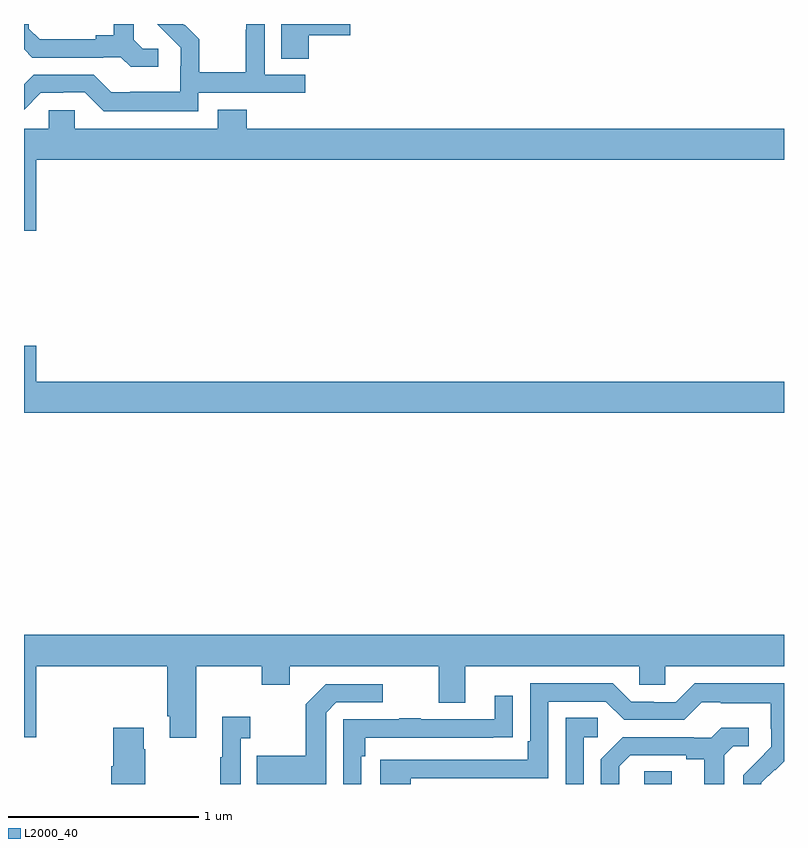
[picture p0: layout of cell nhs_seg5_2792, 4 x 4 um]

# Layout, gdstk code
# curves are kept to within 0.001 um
import gdstk
lib = gdstk.Library(unit=1e-6, precision=1e-09)
def R(c, l, rs):  # rectangles x0, y0, x1, y1
    for r in rs: c.add(gdstk.rectangle(r[:2], r[2:], *l))
def P(c, l, *ps):  # polygons
    for p in ps: c.add(gdstk.Polygon(p, *l))
L2000_40 = (2000, 40)

nhs_seg5_2792 = lib.new_cell('nhs_seg5_2792')
R(nhs_seg5_2792, L2000_40, [(276.264,862.799,276.409,862.865)])
P(nhs_seg5_2792, L2000_40, [(274.499,866.741),(274.717,866.741),(274.717,866.799),(274.355,866.799),(274.355,866.617),(274.499,866.617)],
  [(273.918,866.436),(274.48,866.436),(274.48,866.532),(274.266,866.532),(274.266,866.799),(274.17,866.799),(274.17,866.768),(274.168,866.768),(274.168,866.545),(273.923,866.545),(273.923,866.719),(273.846,866.796),(273.843,866.793),(273.837,866.799),(273.701,866.799),(273.824,866.674),(273.824,866.577),(273.822,866.577),(273.822,866.443),(273.559,866.443),(273.559,866.439),(273.459,866.439),(273.366,866.532),(273.051,866.532),(273,866.481),(273,866.349),(273.087,866.436),(273.206,866.436),(273.206,866.439),(273.321,866.439),(273.421,866.339),(273.918,866.339)],
  [(273.706,866.67),(273.624,866.67),(273.577,866.717),(273.577,866.799),(273.473,866.799),(273.473,866.741),(273.377,866.741),(273.377,866.718),(273.082,866.718),(273.025,866.775),(273.025,866.799),(273,866.799),(273,866.666),(273.044,866.622),(273.416,866.622),(273.416,866.625),(273.51,866.625),(273.562,866.573),(273.706,866.573)],
  [(273.064,866.084),(277,866.084),(277,866.248),(274.172,866.248),(274.172,866.347),(274.019,866.347),(274.019,866.248),(273.267,866.248),(273.267,866.346),(273.129,866.346),(273.129,866.248),(273,866.248),(273,865.71),(273.064,865.71)],
  [(277,864.916),(273.064,864.916),(273.064,865.105),(273,865.105),(273,864.752),(277,864.752)],
  [(273.907,863.42),(274.252,863.42),(274.252,863.321),(274.399,863.321),(274.399,863.42),(275.183,863.42),(275.183,863.226),(275.323,863.226),(275.323,863.42),(276.237,863.42),(276.237,863.322),(276.375,863.322),(276.375,863.42),(277,863.42),(277,863.584),(273,863.584),(273,863.046),(273.064,863.046),(273.064,863.42),(273.755,863.42),(273.755,863.155),(273.767,863.155),(273.767,863.043),(273.907,863.043)],
  [(275.036,862.83),(275.76,862.83),(275.76,863.232),(276.063,863.232),(276.159,863.136),(276.474,863.136),(276.567,863.229),(276.667,863.229),(276.667,863.225),(276.93,863.225),(276.93,863.091),(276.932,863.091),(276.932,862.994),(276.786,862.846),(276.786,862.799),(276.881,862.799),(276.881,862.805),(276.951,862.875),(276.954,862.872),(277,862.918),(277,863.329),(276.529,863.329),(276.429,863.229),(276.314,863.229),(276.314,863.232),(276.195,863.232),(276.099,863.328),(275.664,863.328),(275.664,863.023),(275.651,863.023),(275.651,862.926),(274.875,862.926),(274.875,862.799),(275.036,862.799)],
  [(274.59,863.175),(274.644,863.229),(274.888,863.229),(274.888,863.325),(274.587,863.325),(274.482,863.219),(274.482,862.947),(274.225,862.947),(274.225,862.799),(274.59,862.799)],
  [(274.776,862.946),(274.796,862.946),(274.796,863.043),(275.471,863.043),(275.471,863.044),(275.573,863.044),(275.573,863.263),(275.477,863.263),(275.477,863.139),(275.087,863.139),(275.087,863.144),(274.975,863.144),(274.975,863.139),(274.68,863.139),(274.68,862.799),(274.776,862.799)],
  [(274.14,863.039),(274.192,863.039),(274.192,863.152),(274.043,863.152),(274.043,862.939),(274.032,862.939),(274.032,862.799),(274.14,862.799)],
  [(275.946,863.046),(276.019,863.046),(276.019,863.147),(275.85,863.147),(275.85,862.799),(275.946,862.799)],
  [(273.639,862.982),(273.631,862.982),(273.631,863.095),(273.469,863.095),(273.469,862.893),(273.458,862.893),(273.458,862.799),(273.639,862.799)],
  [(276.133,862.893),(276.19,862.95),(276.485,862.95),(276.485,862.928),(276.581,862.928),(276.581,862.799),(276.685,862.799),(276.685,862.951),(276.732,862.998),(276.814,862.998),(276.814,863.095),(276.67,863.095),(276.618,863.043),(276.524,863.043),(276.524,863.046),(276.152,863.046),(276.036,862.93),(276.036,862.799),(276.133,862.799)])

lib.write_gds('nhs_seg5_2792.gds')
